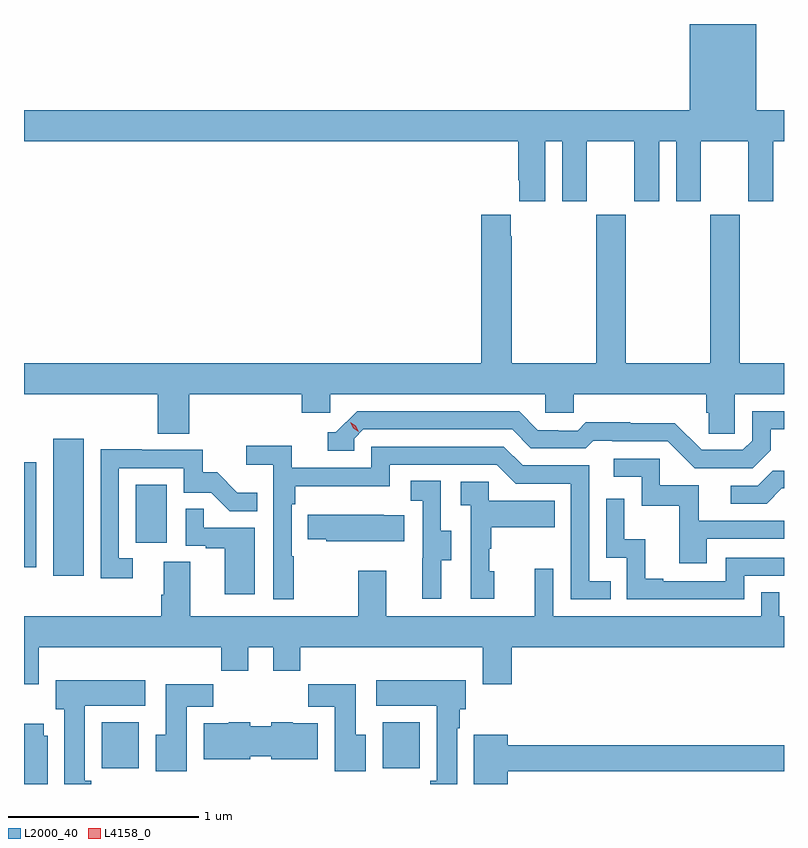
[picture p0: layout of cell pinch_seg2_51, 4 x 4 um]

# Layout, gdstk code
import gdstk
lib = gdstk.Library(unit=1e-6, precision=1e-09)
def R(c, l, rs):  # rectangles x0, y0, x1, y1
    for r in rs: c.add(gdstk.rectangle(r[:2], r[2:], *l))
def P(c, l, *ps):  # polygons
    for p in ps: c.add(gdstk.Polygon(p, *l))
L2000_40 = (2000, 40)
L4158_0 = (4158, 0)

pinch_seg2_51 = lib.new_cell('pinch_seg2_51')
R(pinch_seg2_51, L2000_40, [(1058.024,661.652,1058.221,661.894), (1059.503,661.652,1059.7,661.894), (1057.769,662.664,1057.93,663.385), (1057.616,662.71,1057.68,663.262), (1058.204,662.838,1058.368,663.145)])
P(pinch_seg2_51, L2000_40, [(1060.36,664.952),(1060.448,664.952),(1060.448,664.635),(1060.579,664.635),(1060.579,664.952),(1060.829,664.952),(1060.829,664.635),(1060.96,664.635),(1060.96,664.952),(1061.048,664.952),(1061.048,664.635),(1061.179,664.635),(1061.179,664.952),(1061.429,664.952),(1061.429,664.635),(1061.56,664.635),(1061.56,664.952),(1061.616,664.952),(1061.616,665.116),(1061.47,665.116),(1061.47,665.569),(1061.12,665.569),(1061.12,665.116),(1057.616,665.116),(1057.616,664.952),(1060.217,664.952),(1060.217,664.747),(1060.223,664.747),(1060.223,664.635),(1060.36,664.635)],
  [(1058.486,663.62),(1059.077,663.62),(1059.077,663.522),(1059.228,663.522),(1059.228,663.62),(1060.359,663.62),(1060.359,663.522),(1060.509,663.522),(1060.509,663.62),(1061.207,663.62),(1061.207,663.522),(1061.221,663.522),(1061.221,663.412),(1061.358,663.412),(1061.358,663.62),(1061.616,663.62),(1061.616,663.784),(1061.382,663.784),(1061.382,664.564),(1061.227,664.564),(1061.227,663.784),(1060.782,663.784),(1060.782,664.564),(1060.627,664.564),(1060.627,663.784),(1060.182,663.784),(1060.182,664.451),(1060.177,664.451),(1060.177,664.564),(1060.022,664.564),(1060.022,663.784),(1057.616,663.784),(1057.616,663.62),(1058.321,663.62),(1058.321,663.412),(1058.486,663.412)],
  [(1061.545,663.325),(1061.545,663.435),(1061.616,663.435),(1061.616,663.531),(1061.448,663.531),(1061.448,663.375),(1061.4,663.327),(1061.184,663.327),(1061.042,663.469),(1060.806,663.469),(1060.806,663.472),(1060.573,663.472),(1060.531,663.429),(1060.428,663.429),(1060.428,663.432),(1060.321,663.432),(1060.222,663.531),(1059.369,663.531),(1059.258,663.42),(1059.215,663.42),(1059.215,663.324),(1059.354,663.324),(1059.354,663.387),(1059.402,663.435),(1060.185,663.435),(1060.284,663.336),(1060.573,663.336),(1060.612,663.375),(1060.711,663.375),(1060.711,663.372),(1061.004,663.372),(1061.145,663.231),(1061.451,663.231)],
  [(1059.037,662.768),(1059.024,662.768),(1059.024,663.041),(1059.044,663.041),(1059.044,663.137),(1059.54,663.137),(1059.54,663.249),(1060.104,663.249),(1060.203,663.15),(1060.494,663.15),(1060.494,662.541),(1060.703,662.541),(1060.703,662.637),(1060.59,662.637),(1060.59,663.246),(1060.24,663.246),(1060.141,663.345),(1059.444,663.345),(1059.444,663.234),(1059.026,663.234),(1059.026,663.35),(1058.787,663.35),(1058.787,663.248),(1058.928,663.248),(1058.928,662.541),(1059.037,662.541)],
  [(1058.188,662.757),(1058.115,662.757),(1058.115,663.231),(1058.457,663.231),(1058.457,663.102),(1058.601,663.102),(1058.699,663.004),(1058.843,663.004),(1058.843,663.103),(1058.739,663.103),(1058.632,663.21),(1058.556,663.21),(1058.556,663.327),(1058.237,663.327),(1058.237,663.332),(1058.019,663.332),(1058.019,662.652),(1058.188,662.652)],
  [(1061.209,662.859),(1061.616,662.859),(1061.616,662.955),(1061.167,662.955),(1061.167,663.141),(1060.962,663.141),(1060.962,663.282),(1060.719,663.282),(1060.719,663.186),(1060.866,663.186),(1060.866,663.033),(1061.065,663.033),(1061.065,662.73),(1061.209,662.73)],
  [(1061.605,663.126),(1061.616,663.126),(1061.616,663.218),(1061.558,663.218),(1061.478,663.138),(1061.337,663.138),(1061.337,663.045),(1061.524,663.045)],
  [(1059.811,662.746),(1059.865,662.746),(1059.865,662.901),(1059.81,662.901),(1059.81,663.164),(1059.651,663.164),(1059.651,663.061),(1059.714,663.061),(1059.714,662.757),(1059.713,662.757),(1059.713,662.544),(1059.811,662.544)],
  [(1060.09,662.688),(1060.065,662.688),(1060.065,662.807),(1060.075,662.807),(1060.075,662.921),(1060.409,662.921),(1060.409,663.061),(1060.062,663.061),(1060.062,663.159),(1059.915,663.159),(1059.915,663.035),(1059.966,663.035),(1059.966,662.544),(1060.09,662.544)],
  [(1061.406,662.664),(1061.616,662.664),(1061.616,662.76),(1061.31,662.76),(1061.31,662.637),(1060.981,662.637),(1060.981,662.65),(1060.886,662.65),(1060.886,662.858),(1060.776,662.858),(1060.776,663.07),(1060.68,663.07),(1060.68,662.76),(1060.788,662.76),(1060.788,662.541),(1061.406,662.541)],
  [(1058.83,662.919),(1058.561,662.919),(1058.561,663.017),(1058.466,663.017),(1058.466,662.823),(1058.573,662.823),(1058.573,662.811),(1058.672,662.811),(1058.672,662.568),(1058.83,662.568)],
  [(1059.617,662.983),(1059.509,662.983),(1059.509,662.986),(1059.109,662.986),(1059.109,662.857),(1059.207,662.857),(1059.207,662.846),(1059.617,662.846)],
  [(1057.693,662.288),(1058.653,662.288),(1058.653,662.164),(1058.797,662.164),(1058.797,662.288),(1058.927,662.288),(1058.927,662.164),(1059.071,662.164),(1059.071,662.288),(1060.031,662.288),(1060.031,662.094),(1060.184,662.094),(1060.184,662.288),(1061.616,662.288),(1061.616,662.452),(1061.592,662.452),(1061.592,662.579),(1061.496,662.579),(1061.496,662.452),(1060.401,662.452),(1060.401,662.701),(1060.304,662.701),(1060.304,662.452),(1059.523,662.452),(1059.523,662.692),(1059.376,662.692),(1059.376,662.452),(1058.491,662.452),(1058.491,662.738),(1058.351,662.738),(1058.351,662.564),(1058.339,662.564),(1058.339,662.452),(1057.616,662.452),(1057.616,662.094),(1057.693,662.094)],
  [(1057.969,661.586),(1057.936,661.586),(1057.936,661.982),(1058.254,661.982),(1058.254,662.116),(1057.784,662.116),(1057.784,661.962),(1057.829,661.962),(1057.829,661.569),(1057.969,661.569)],
  [(1059.895,661.862),(1059.91,661.862),(1059.91,661.962),(1059.94,661.962),(1059.94,662.116),(1059.471,662.116),(1059.471,661.982),(1059.788,661.982),(1059.788,661.586),(1059.755,661.586),(1059.755,661.569),(1059.895,661.569)],
  [(1058.473,661.976),(1058.612,661.976),(1058.612,662.095),(1058.363,662.095),(1058.363,661.828),(1058.309,661.828),(1058.309,661.635),(1058.473,661.635)],
  [(1059.415,661.828),(1059.361,661.828),(1059.361,662.095),(1059.112,662.095),(1059.112,661.976),(1059.251,661.976),(1059.251,661.635),(1059.415,661.635)],
  [(1058.808,661.715),(1058.916,661.715),(1058.916,661.7),(1059.163,661.7),(1059.163,661.888),(1059.03,661.888),(1059.03,661.894),(1058.916,661.894),(1058.916,661.873),(1058.808,661.873),(1058.808,661.894),(1058.694,661.894),(1058.694,661.888),(1058.561,661.888),(1058.561,661.7),(1058.808,661.7)],
  [(1057.741,661.824),(1057.72,661.824),(1057.72,661.885),(1057.616,661.885),(1057.616,661.569),(1057.741,661.569)],
  [(1060.162,661.636),(1061.616,661.636),(1061.616,661.772),(1060.162,661.772),(1060.162,661.828),(1059.983,661.828),(1059.983,661.569),(1060.162,661.569)])
P(pinch_seg2_51, L4158_0, [(1059.379,663.422),(1059.348,663.442),(1059.332,663.474),(1059.332,663.474),(1059.332,663.474),(1059.363,663.455),(1059.379,663.422),(1059.379,663.422)])

lib.write_gds('pinch_seg2_51.gds')
